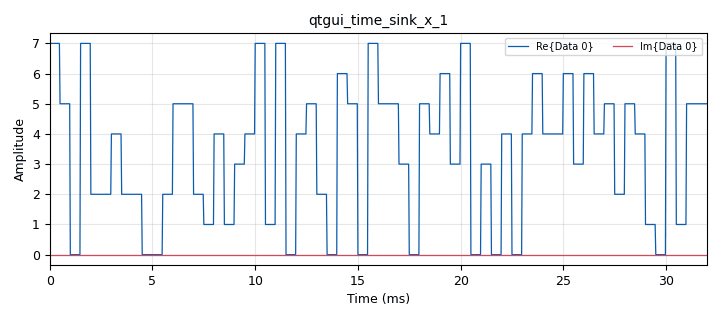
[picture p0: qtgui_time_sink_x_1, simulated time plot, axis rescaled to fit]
options:
  parameters:
    generate_options: qt_gui
    id: unpack_symbols
    output_language: python
    title: Not titled yet
  states: {}

blocks:
- name: M
  id: variable
  parameters:
    value: '2'
  states: {}
- name: samp_rate
  id: variable
  parameters:
    value: '32000'
  states: {}
- name: sps
  id: variable
  parameters:
    value: '16'
  states: {}
- name: analog_random_source_x_0
  id: analog_random_source_x
  parameters:
    max: '256'
    min: '0'
    num_samps: '1000'
    repeat: 'True'
    type: byte
  states: {}
- name: blocks_add_const_vxx_0
  id: blocks_add_const_vxx
  parameters:
    const: '-0.5'
    type: float
  states: {state: disabled}
- name: blocks_char_to_float_0
  id: blocks_char_to_float
  parameters:
    scale: '1'
  states: {}
- name: blocks_float_to_complex_0
  id: blocks_float_to_complex
  parameters: {}
  states: {}
- name: blocks_multiply_const_vxx_0
  id: blocks_multiply_const_vxx
  parameters:
    const: '2'
    type: float
  states: {state: disabled}
- name: blocks_pack_k_bits_bb_0
  id: blocks_pack_k_bits_bb
  parameters:
    k: '3'
  states: {}
- name: blocks_repeat_0
  id: blocks_repeat
  parameters:
    interp: sps
    type: float
  states: {}
- name: blocks_unpack_k_bits_bb_0
  id: blocks_unpack_k_bits_bb
  parameters:
    k: '8'
  states: {}
- name: qtgui_time_sink_x_1
  id: qtgui_time_sink_x
  parameters:
    size: '1024'
    srate: samp_rate
    type: complex
    ymax: '2'
    ymin: '-2'
  states: {}

connections:
- [analog_random_source_x_0, '0', blocks_unpack_k_bits_bb_0, '0']
- [blocks_add_const_vxx_0, '0', blocks_multiply_const_vxx_0, '0']
- [blocks_char_to_float_0, '0', blocks_repeat_0, '0']
- [blocks_float_to_complex_0, '0', qtgui_time_sink_x_1, '0']
- [blocks_multiply_const_vxx_0, '0', blocks_float_to_complex_0, '0']
- [blocks_pack_k_bits_bb_0, '0', blocks_char_to_float_0, '0']
- [blocks_repeat_0, '0', blocks_add_const_vxx_0, '0']
- [blocks_repeat_0, '0', blocks_float_to_complex_0, '0']
- [blocks_unpack_k_bits_bb_0, '0', blocks_pack_k_bits_bb_0, '0']

metadata:
  file_format: 1
  grc_version: 3.10.9.2
